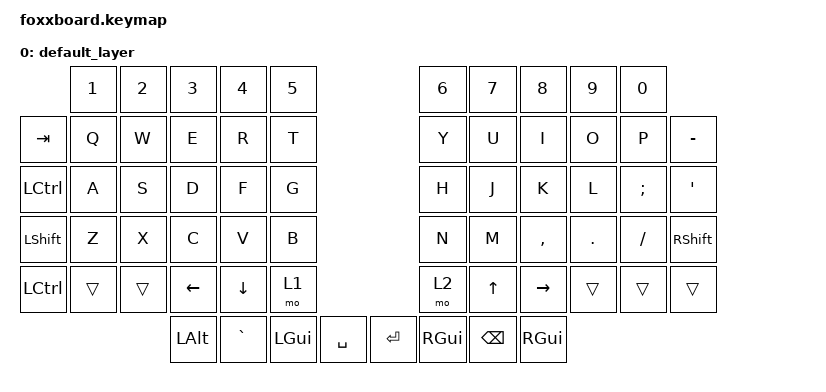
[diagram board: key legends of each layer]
#include <behaviors.dtsi>
#include <dt-bindings/zmk/keys.h>

/ {
  keymap {
    compatible = "zmk,keymap";

    default_layer {
      // ------------------------------------------------------------------------------------------------------------
      //         |  1  |  2  |  3   |  4   |  5   |                   |  6   |  7    |  8    |  9   |   0   |
      // |  TAB  |  Q  |  W  |  E   |  R   |  T   |                   |  Y   |  U    |  I    |  O   |   P   |   -   |
      // |  CAPS |  A  |  S  |  D   |  F   |  G   |                   |  H   |  J    |  K    |  L   |   ;   |   '   |
      // | SHIFT |  Z  |  X  |  C   |  V   |  B   |                   |  N   |  M    |  ,    |  .   |   /   | SHIFT |
      // |  CTRL |     |     |  <   |  V   | LOWER|                   | RAISE|  ^    |  >    |      |       |       |
      //                     | ALT  | GUI  | LOWER|  SPACE |  | ENTER | GUI  | BSPC  | GUI   |
      bindings = <
          &kp N1 &kp N2 &kp N3   &kp N4   &kp N5                     &kp N6    &kp N7   &kp N8    &kp N9  &kp N0
&kp TAB   &kp Q  &kp W  &kp E    &kp R    &kp T                      &kp Y     &kp U    &kp I     &kp O   &kp P    &kp MINUS
&kp LCTRL &kp A  &kp S  &kp D    &kp F    &kp G                      &kp H     &kp J    &kp K     &kp L   &kp SEMI &kp SQT
&kp LSHFT &kp Z  &kp X  &kp C    &kp V    &kp B                      &kp N     &kp M    &kp COMMA &kp DOT &kp FSLH &kp RSHFT
&kp LCTRL &trans &trans &kp LEFT &kp DOWN &mo 1                      &mo 2     &kp UP   &kp RIGHT &trans  &trans   &trans
                        &kp LALT &kp GRAVE &kp LGUI  &kp SPACE  &kp RET  &kp RGUI  &kp BSPC &kp RGUI
            >;
    }
  }
}
